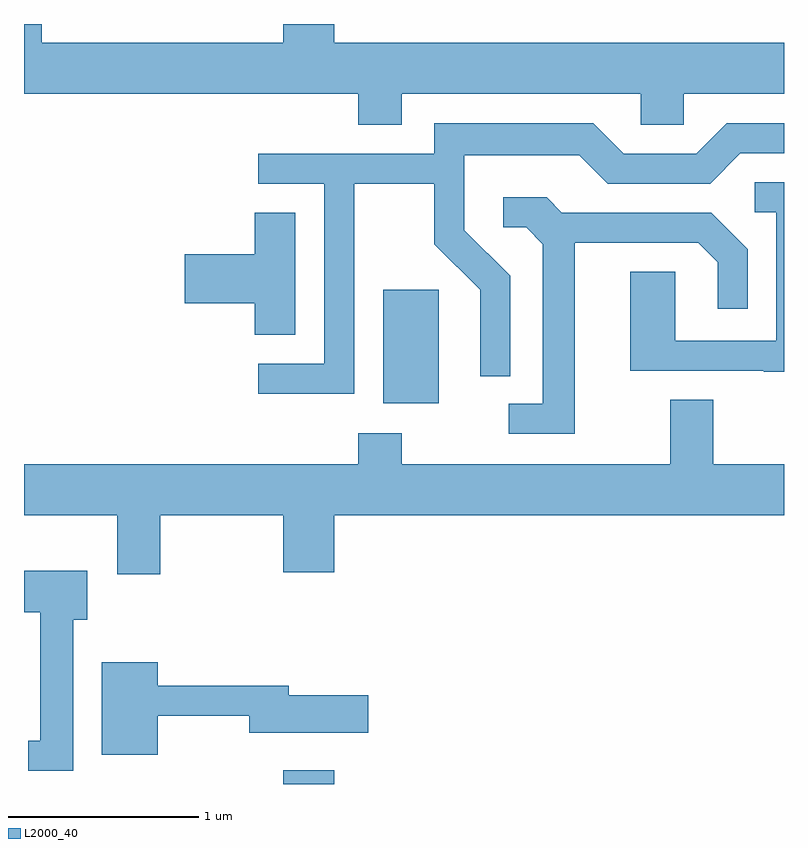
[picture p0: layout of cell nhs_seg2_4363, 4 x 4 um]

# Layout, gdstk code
import gdstk
lib = gdstk.Library(unit=1e-6, precision=1e-09)
def R(c, l, rs):  # rectangles x0, y0, x1, y1
    for r in rs: c.add(gdstk.rectangle(r[:2], r[2:], *l))
def P(c, l, *ps):  # polygons
    for p in ps: c.add(gdstk.Polygon(p, *l))
L2000_40 = (2000, 40)

nhs_seg2_4363 = lib.new_cell('nhs_seg2_4363')
R(nhs_seg2_4363, L2000_40, [(314.976,1035.802,315.244,1035.874), (315.501,1037.806,315.794,1038.404)])
P(nhs_seg2_4363, L2000_40, [(315.599,1039.436),(316.856,1039.436),(316.856,1039.271),(317.084,1039.271),(317.084,1039.436),(317.611,1039.436),(317.611,1039.704),(315.244,1039.704),(315.244,1039.802),(314.976,1039.802),(314.976,1039.704),(313.704,1039.704),(313.704,1039.802),(313.611,1039.802),(313.611,1039.436),(315.371,1039.436),(315.371,1039.271),(315.599,1039.271)],
  [(315.349,1038.961),(315.771,1038.961),(315.771,1038.644),(316.011,1038.404),(316.011,1037.948),(316.169,1037.948),(316.169,1038.477),(315.929,1038.717),(315.929,1039.111),(316.534,1039.111),(316.684,1038.961),(317.222,1038.961),(317.382,1039.121),(317.611,1039.121),(317.611,1039.279),(317.309,1039.279),(317.149,1039.119),(316.767,1039.119),(316.607,1039.279),(315.771,1039.279),(315.771,1039.119),(314.843,1039.119),(314.843,1038.961),(315.191,1038.961),(315.191,1038.014),(314.843,1038.014),(314.843,1037.856),(315.349,1037.856)],
  [(317.611,1038.969),(317.458,1038.969),(317.458,1038.811),(317.571,1038.811),(317.571,1038.134),(317.039,1038.134),(317.039,1038.499),(316.801,1038.499),(316.801,1037.976),(317.505,1037.976),(317.505,1037.971),(317.611,1037.971)],
  [(316.509,1038.651),(317.159,1038.651),(317.261,1038.549),(317.261,1038.303),(317.419,1038.303),(317.419,1038.617),(317.227,1038.809),(316.442,1038.809),(316.362,1038.889),(316.133,1038.889),(316.133,1038.731),(316.254,1038.731),(316.341,1038.644),(316.341,1037.804),(316.163,1037.804),(316.163,1037.646),(316.509,1037.646)],
  [(315.039,1038.809),(314.826,1038.809),(314.826,1038.589),(314.456,1038.589),(314.456,1038.331),(314.826,1038.331),(314.826,1038.166),(315.039,1038.166)],
  [(314.329,1037.216),(314.976,1037.216),(314.976,1036.916),(315.244,1036.916),(315.244,1037.216),(317.611,1037.216),(317.611,1037.484),(317.239,1037.484),(317.239,1037.824),(317.011,1037.824),(317.011,1037.484),(315.599,1037.484),(315.599,1037.649),(315.371,1037.649),(315.371,1037.484),(313.611,1037.484),(313.611,1037.216),(314.101,1037.216),(314.101,1036.906),(314.329,1036.906)],
  [(313.869,1036.666),(313.944,1036.666),(313.944,1036.924),(313.611,1036.924),(313.611,1036.706),(313.696,1036.706),(313.696,1036.029),(313.633,1036.029),(313.633,1035.871),(313.869,1035.871)],
  [(314.314,1036.161),(314.796,1036.161),(314.796,1036.071),(315.424,1036.071),(315.424,1036.269),(315.004,1036.269),(315.004,1036.319),(314.314,1036.319),(314.314,1036.444),(314.021,1036.444),(314.021,1035.956),(314.314,1035.956)])

lib.write_gds('nhs_seg2_4363.gds')
